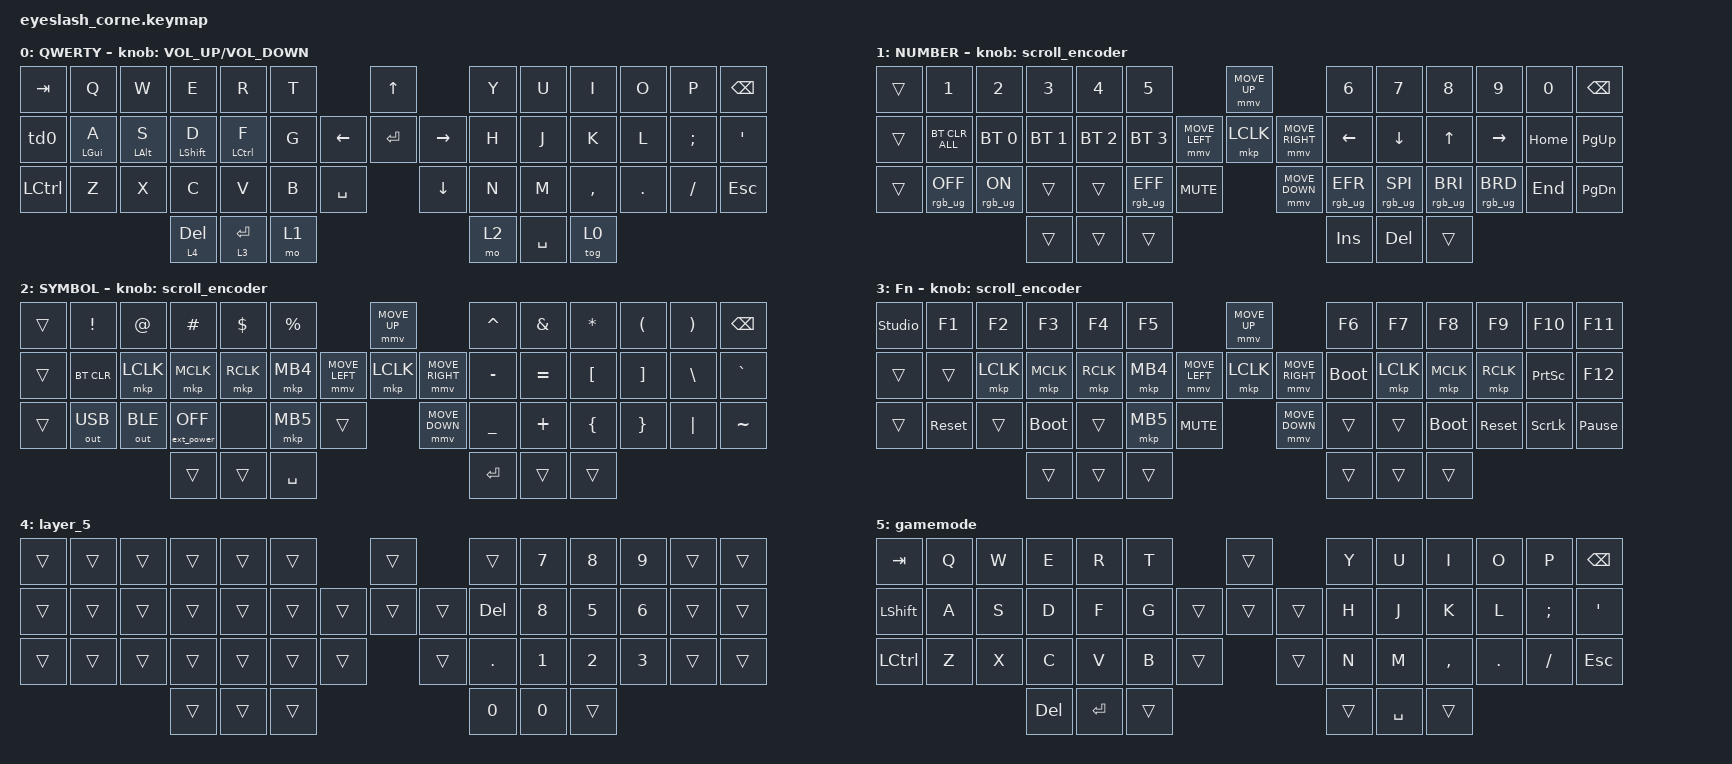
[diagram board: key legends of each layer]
#define ZMK_POINTING_DEFAULT_MOVE_VAL 1200  // 600
#define ZMK_POINTING_DEFAULT_SCRL_VAL 25   // 10

#include <input/processors.dtsi>
#include <zephyr/dt-bindings/input/input-event-codes.h>
#include <behaviors.dtsi>
#include <dt-bindings/zmk/bt.h>
#include <dt-bindings/zmk/ext_power.h>
#include <dt-bindings/zmk/keys.h>
#include <dt-bindings/zmk/outputs.h>
#include <dt-bindings/zmk/pointing.h>
#include <dt-bindings/zmk/rgb.h>

&mmv_input_listener { input-processors = <&zip_xy_scaler 2 1>; };

&msc_input_listener { input-processors = <&zip_scroll_scaler 2 1>; };

&msc {
    acceleration-exponent = <1>;      // 0
    time-to-max-speed-ms = <100>;       // 300
    delay-ms = <0>;                   // 0
};

&mmv {
    time-to-max-speed-ms = <500>;
    acceleration-exponent = <1>;
    trigger-period-ms = <16>;
};

/ {
    behaviors {
        td0: td0 {
            compatible = "zmk,behavior-tap-dance";
            display-name = "Shift/Caps Lock Tap Dance";
            #binding-cells = <0>;
            bindings = <&kp LEFT_SHIFT>, <&kp CAPS>;
        };
    };

    rgb_encoder: rgb_encoder {
        compatible = "zmk,behavior-sensor-rotate";
        #sensor-binding-cells = <0>;
        bindings = <&rgb_ug RGB_BRI>, <&rgb_ug RGB_BRD>;
    };

    scroll_encoder: scroll_encoder {
        compatible = "zmk,behavior-sensor-rotate";
        #sensor-binding-cells = <0>;
        bindings = <&msc SCRL_DOWN>, <&msc SCRL_UP>;

        tap-ms = <100>;
    };

    combos {
        compatible = "zmk,combos";

        one {
            bindings = <&kp N1>;
            key-positions = <15 14>;
            layers = <0>;
        };

        two {
            bindings = <&kp NUMBER_2>;
            key-positions = <16 17>;
        };

        thhree {
            bindings = <&kp NUMBER_3>;
            key-positions = <14 15 16>;
        };

        four {
            bindings = <&kp NUMBER_4>;
            key-positions = <14 15 16 17>;
        };

        five {
            bindings = <&kp N5>;
            key-positions = <3 4>;
        };

        six {
            bindings = <&kp NUMBER_6>;
            key-positions = <26 25>;
        };

        seven {
            bindings = <&kp N7>;
            key-positions = <23 24>;
        };

        eight {
            bindings = <&kp N8>;
            key-positions = <24 25 26>;
        };

        nine {
            bindings = <&kp N9>;
            key-positions = <24 23 25 26>;
        };

        zero {
            bindings = <&kp N0>;
            key-positions = <9 8>;
        };

        copy {
            bindings = <&kp LC(C)>;
            key-positions = <30 31>;
        };

        paste {
            bindings = <&kp LC(V)>;
            key-positions = <31 32>;
        };

        cut {
            bindings = <&kp LC(X)>;
            key-positions = <29 30>;
        };

        capscreen {
            bindings = <&kp LG(LS(S))>;
            key-positions = <28 0>;
        };
    };

    keymap {
        compatible = "zmk,keymap";

        default_layer {
            display-name = "QWERTY";
            bindings = <
&kp TAB    &kp Q           &kp W           &kp E             &kp R        &kp T                         &kp UP                &kp Y  &kp U      &kp I      &kp O    &kp P     &kp BSPC
&td0       &mt LEFT_GUI A  &mt LEFT_ALT S  &mt LEFT_SHIFT D  &mt LCTRL F  &kp G               &kp LEFT  &kp ENTER  &kp RIGHT  &kp H  &kp J      &kp K      &kp L    &kp SEMI  &kp SQT
&kp LCTRL  &kp Z           &kp X           &kp C             &kp V        &kp B  &kp SPACE              &kp DOWN              &kp N  &kp M      &kp COMMA  &kp DOT  &kp FSLH  &kp ESC
                                           &lt 4 DEL         &lt 3 ENTER  &mo 1                                               &mo 2  &kp SPACE  &tog 0
            >;

            sensor-bindings = <&inc_dec_kp C_VOLUME_UP C_VOLUME_DOWN>;
        };

        lower_layer {
            display-name = "NUMBER";
            bindings = <
&trans  &kp N1           &kp N2          &kp N3        &kp N4        &kp N5                                         &mmv MOVE_UP                     &kp N6           &kp N7           &kp N8           &kp N9           &kp N0    &kp BSPC
&trans  &bt BT_CLR_ALL   &bt BT_SEL 0    &bt BT_SEL 1  &bt BT_SEL 2  &bt BT_SEL 3                   &mmv MOVE_LEFT  &mkp LCLK       &mmv MOVE_RIGHT  &kp LEFT         &kp DOWN         &kp UP           &kp RIGHT        &kp HOME  &kp PG_UP
&trans  &rgb_ug RGB_OFF  &rgb_ug RGB_ON  &trans        &trans        &rgb_ug RGB_EFF  &kp C_MUTE                    &mmv MOVE_DOWN                   &rgb_ug RGB_EFR  &rgb_ug RGB_SPI  &rgb_ug RGB_BRI  &rgb_ug RGB_BRD  &kp END   &kp PG_DN
                                         &trans        &trans        &trans                                                                          &kp INS          &kp DEL          &trans
            >;

            sensor-bindings = <&scroll_encoder>;
        };

        raise_layer {
            display-name = "SYMBOL";
            bindings = <
&trans  &kp EXCL      &kp AT        &kp HASH           &kp DLLR   &kp PRCNT                            &mmv MOVE_UP                     &kp CARET  &kp AMPS   &kp ASTRK  &kp LPAR  &kp RPAR  &kp BSPC
&trans  &bt BT_CLR    &mkp LCLK     &mkp MCLK          &mkp RCLK  &mkp MB4             &mmv MOVE_LEFT  &mkp LCLK       &mmv MOVE_RIGHT  &kp MINUS  &kp EQUAL  &kp LBKT   &kp RBKT  &kp BSLH  &kp GRAVE
&trans  &out OUT_USB  &out OUT_BLE  &ext_power EP_OFF  &none      &mkp MB5   &trans                    &mmv MOVE_DOWN                   &kp UNDER  &kp PLUS   &kp LBRC   &kp RBRC  &kp PIPE  &kp TILDE
                                    &trans             &trans     &kp SPACE                                                             &kp RET    &trans     &trans
            >;

            sensor-bindings = <&scroll_encoder>;
        };

        layer_3 {
            display-name = "Fn";
            bindings = <
&studio_unlock  &kp F1      &kp F2     &kp F3       &kp F4     &kp F5                                  &mmv MOVE_UP                     &kp F6       &kp F7     &kp F8       &kp F9      &kp F10          &kp F11
&trans          &trans      &mkp LCLK  &mkp MCLK    &mkp RCLK  &mkp MB4                &mmv MOVE_LEFT  &mkp LCLK       &mmv MOVE_RIGHT  &bootloader  &mkp LCLK  &mkp MCLK    &mkp RCLK   &kp PRINTSCREEN  &kp F12
&trans          &sys_reset  &trans     &bootloader  &trans     &mkp MB5  &kp C_MUTE                    &mmv MOVE_DOWN                   &trans       &trans     &bootloader  &sys_reset  &kp SCROLLLOCK   &kp PAUSE_BREAK
                                       &trans       &trans     &trans                                                                   &trans       &trans     &trans
            >;

            sensor-bindings = <&scroll_encoder>;
        };

        layer_5 {
            bindings = <
&trans  &trans  &trans  &trans  &trans  &trans                    &trans          &trans   &kp N7  &kp N8  &kp N9  &trans  &trans
&trans  &trans  &trans  &trans  &trans  &trans            &trans  &trans  &trans  &kp DEL  &kp N8  &kp N5  &kp N6  &trans  &trans
&trans  &trans  &trans  &trans  &trans  &trans  &trans            &trans          &kp DOT  &kp N1  &kp N2  &kp N3  &trans  &trans
                        &trans  &trans  &trans                                    &kp N0   &kp N0  &trans
            >;
        };

        gamemode {
            bindings = <
&kp TAB    &kp Q  &kp W  &kp E    &kp R    &kp T                     &trans          &kp Y   &kp U      &kp I      &kp O    &kp P     &kp BSPC
&kp LSHFT  &kp A  &kp S  &kp D    &kp F    &kp G             &trans  &trans  &trans  &kp H   &kp J      &kp K      &kp L    &kp SEMI  &kp SQT
&kp LCTRL  &kp Z  &kp X  &kp C    &kp V    &kp B   &trans            &trans          &kp N   &kp M      &kp COMMA  &kp DOT  &kp FSLH  &kp ESC
                         &kp DEL  &kp RET  &trans                                    &trans  &kp SPACE  &trans
            >;

            label = "gamemode";
        };
    };
};
